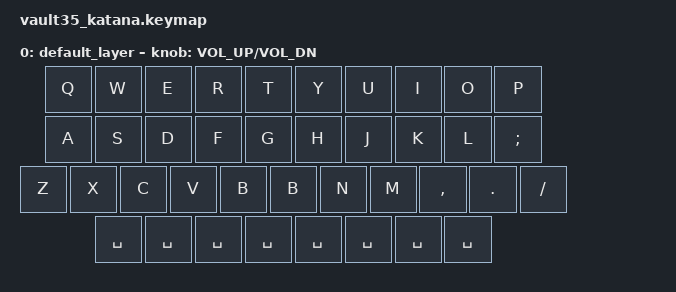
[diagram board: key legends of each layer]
/*
 * Copyright (c) 2020 The ZMK Contributors
 *
 * SPDX-License-Identifier: MIT
 */

#include <behaviors.dtsi>
#include <dt-bindings/zmk/keys.h>

/ {
    keymap {
        compatible = "zmk,keymap";

		default_layer {
			bindings = <
				&kp Q    &kp W &kp E &kp R &kp T  &kp Y   &kp U  &kp I    &kp O   &kp P    
				&kp A    &kp S &kp D &kp F &kp G  &kp H   &kp J  &kp K    &kp L   &kp SEMI
				&kp Z    &kp X &kp C &kp V &kp B &kp B &kp N   &kp M  &kp COMMA &kp DOT &kp SLASH
				&kp SPACE &kp SPACE &kp SPACE &kp SPACE &kp SPACE &kp SPACE &kp SPACE &kp SPACE 
			>;

		sensor-bindings = <&inc_dec_kp C_VOL_UP C_VOL_DN>;
		};

    };
};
